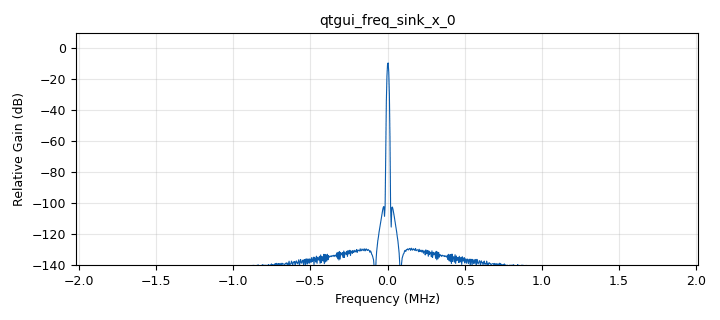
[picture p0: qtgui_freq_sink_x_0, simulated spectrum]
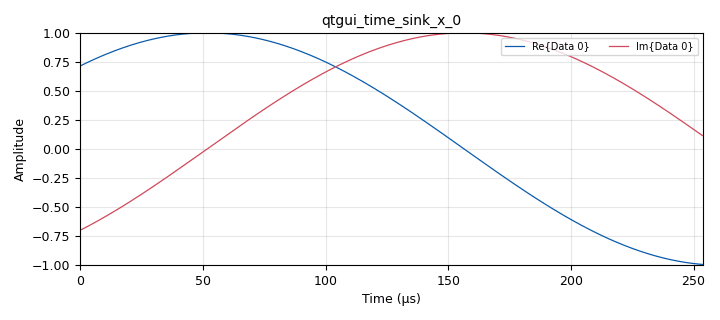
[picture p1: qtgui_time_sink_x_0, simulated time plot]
options:
  parameters:
    generate_options: qt_gui
    id: test_block
    output_language: python
    title: Simulation_Chirpradar
  states: {}

blocks:
- name: samp_rate
  id: variable
  parameters:
    value: '4032980'
  states: {}
- name: analog_sig_source_x_0
  id: analog_sig_source_x
  parameters:
    amp: '10'
    freq: '3.84615'
    offset: '2'
    phase: '0'
    samp_rate: samp_rate
    type: float
    waveform: analog.GR_SAW_WAVE
  states: {}
- name: blocks_delay_0
  id: blocks_delay
  parameters:
    delay: '2500'
    type: complex
  states: {}
- name: blocks_file_sink_0
  id: blocks_file_sink
  parameters:
    file: /home/timonp/git/SDR-Positioning-System/gnuradio/misc/received_signal.txt
    type: complex
  states: {}
- name: blocks_file_sink_1
  id: blocks_file_sink
  parameters:
    file: /home/timonp/git/SDR-Positioning-System/gnuradio/misc/sent_signal.txt
    type: float
  states: {}
- name: blocks_head_0
  id: blocks_head
  parameters:
    num_items: '20000000'
    type: complex
  states: {}
- name: blocks_head_1
  id: blocks_head
  parameters:
    num_items: '20000000'
    type: float
  states: {}
- name: blocks_multiply_conjugate_cc_0
  id: blocks_multiply_conjugate_cc
  parameters: {}
  states: {}
- name: blocks_skiphead_0
  id: blocks_skiphead
  parameters:
    num_items: '524288'
    type: complex
  states: {}
- name: blocks_skiphead_0_0
  id: blocks_skiphead
  parameters:
    num_items: '524288'
    type: float
  states: {}
- name: blocks_vco_c_0
  id: blocks_vco_c
  parameters:
    amplitude: '1'
    samp_rate: samp_rate
    sensitivity: '628318'
  states: {}
- name: qtgui_freq_sink_x_0
  id: qtgui_freq_sink_x
  parameters:
    bw: samp_rate
    fc: '0'
    fftsize: '1024'
    type: complex
    wintype: firdes.WIN_BLACKMAN_hARRIS
  states: {}
- name: qtgui_time_sink_x_0
  id: qtgui_time_sink_x
  parameters:
    size: '1024'
    srate: samp_rate
    type: complex
  states: {}
- name: rational_resampler_xxx_0
  id: rational_resampler_xxx
  parameters:
    decim: '1'
    interp: '1'
    taps: ''
    type: ccc
  states: {}

connections:
- [analog_sig_source_x_0, '0', blocks_skiphead_0_0, '0']
- [analog_sig_source_x_0, '0', blocks_vco_c_0, '0']
- [blocks_delay_0, '0', blocks_multiply_conjugate_cc_0, '1']
- [blocks_head_0, '0', blocks_delay_0, '0']
- [blocks_head_0, '0', blocks_multiply_conjugate_cc_0, '0']
- [blocks_head_1, '0', blocks_file_sink_1, '0']
- [blocks_multiply_conjugate_cc_0, '0', rational_resampler_xxx_0, '0']
- [blocks_skiphead_0, '0', blocks_head_0, '0']
- [blocks_skiphead_0_0, '0', blocks_head_1, '0']
- [blocks_vco_c_0, '0', blocks_skiphead_0, '0']
- [rational_resampler_xxx_0, '0', blocks_file_sink_0, '0']
- [rational_resampler_xxx_0, '0', qtgui_freq_sink_x_0, '0']
- [rational_resampler_xxx_0, '0', qtgui_time_sink_x_0, '0']

metadata:
  file_format: 1
